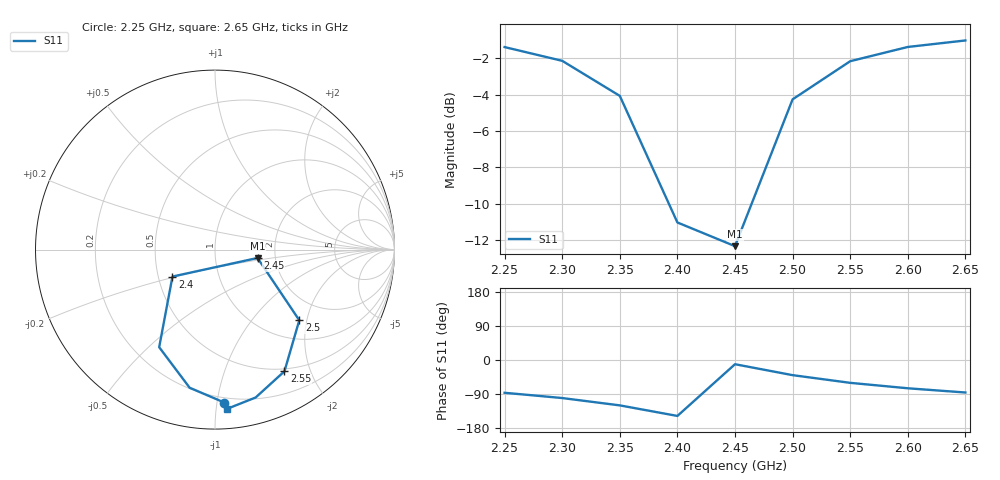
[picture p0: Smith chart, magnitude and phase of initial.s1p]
# Hz S RI R 50
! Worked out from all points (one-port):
!   9 points, 2.25 GHz to 2.65 GHz, reference 50 ohm
!   lowest |S11| = -12.3 dB at 2.45 GHz (marker M1), VSWR 1.64, Z = 80.6 - j7.98 ohm
!   |S11| at or under -10 dB: 2.393 GHz to 2.464 GHz (71.93 MHz wide, 2.96 % of centre)
!   S11 on the Smith chart (normalised r, x): 2.25 GHz: 0.17, -1.05; 2.4 GHz: 0.59, -0.19; 2.45 GHz: 1.61, -0.16; 2.5 GHz: 1.43, -1.80; 2.55 GHz: 0.47, -1.62; 2.65 GHz: 0.12, -1.07
2.25e9  0.0522 -0.8522
2.3e9  -0.1411 -0.7697
2.35e9  -0.311 -0.5438
2.4e9  -0.237 -0.1503
2.45e9  0.2369 -0.0467
2.5e9  0.4697 -0.3936
2.55e9  0.387 -0.678
2.6e9  0.2266 -0.8239
2.65e9  0.0652 -0.8881
